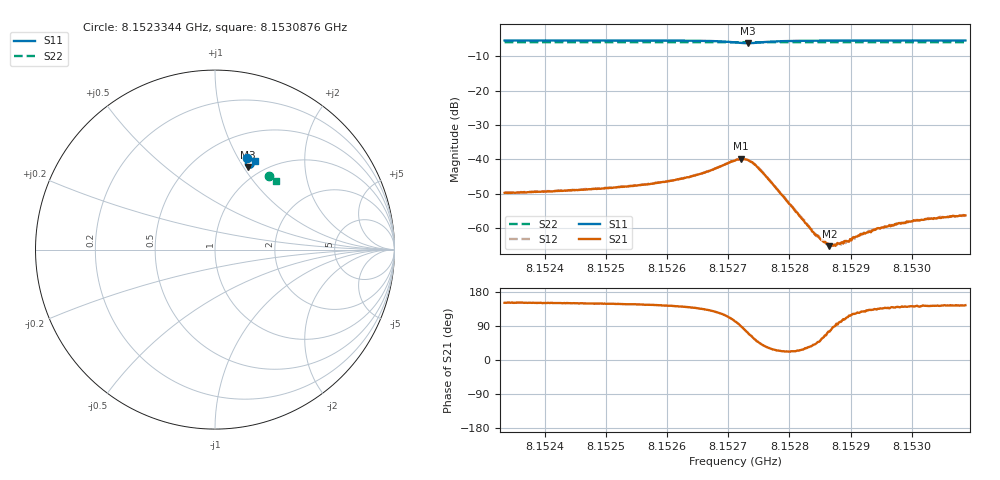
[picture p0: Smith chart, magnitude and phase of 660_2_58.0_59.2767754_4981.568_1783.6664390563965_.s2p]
#  HZ  S  RI  R  50.00
! Rohde & Schwarz Vector Network Analyzer
! Rohde-Schwarz,ZNB20-2Port,1311601062101988,3.16
! Created: UTC 3/21/2024, 1:19:55 AM
! freq[Hz]  re:S11  im:S11  re:S21  im:S21  re:S12  im:S12  re:S22  im:S22
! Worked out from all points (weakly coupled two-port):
!   401 points, 8.1523344 GHz to 8.1530876 GHz, reference 50 ohm
!   highest |S21| = -39.84 dB at 8.1527204 GHz (marker M1); lowest = -65.3 dB at 8.1528654 GHz (marker M2)
!   lowest |S11| = -6.1 dB at 8.1527317 GHz (marker M3), VSWR 2.95, Z = 43.3 + j52.4 ohm
!   |S11| at or under -10 dB: nowhere
!   |S22| runs from -5.9 to -5.8 dB; largest |S21 - S12| = 0.00028
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8.15233442e9  0.1799 0.5097  -0.00283 0.00157  -0.00283 0.00158  0.3036 0.4119
8.15246059e9  0.1899 0.506  -0.00311 0.00183  -0.00309 0.00189  0.3099 0.4069
8.15253779e9  0.1968 0.5029  -0.00339 0.00221  -0.0034 0.00226  0.3137 0.4037
8.15258675e9  0.2021 0.5  -0.00372 0.00264  -0.00374 0.00272  0.3163 0.4017
8.15265454e9  0.2114 0.491  -0.00437 0.00433  -0.00436 0.00435  0.3196 0.3985
8.15271103e9  0.209 0.4622  -0.00196 0.00936  -0.00204 0.00949  0.3218 0.3954
8.15272044e9  0.1998 0.4569  0.000111 0.0102  0.000104 0.0101  0.3219 0.3951
8.15273174e9  0.1853 0.4574  0.003 0.00935  0.00316 0.00929  0.322 0.3948
8.15274116e9  0.1758 0.4651  0.00464 0.00734  0.00482 0.00733  0.3221 0.3949
8.15275246e9  0.1718 0.4769  0.005 0.00476  0.0052 0.00482  0.3226 0.3948
8.15283719e9  0.1944 0.5002  0.000701 0.000543  0.00076 0.000576  0.3277 0.3918
8.15285414e9  0.1974 0.5001  0.000346 0.000556  0.000384 0.000538  0.3287 0.3913
8.15286544e9  0.1992 0.5001  0.000142 0.000523  0.000143 0.000538  0.3291 0.3907
8.15287109e9  0.2 0.5  3.27e-05 0.000551  5.18e-05 0.000544  0.3295 0.3904
8.1528805e9  0.2013 0.4998  -8.7e-05 0.000584  -6.7e-05 0.00055  0.33 0.3901
8.15289745e9  0.2034 0.4995  -0.000292 0.000561  -0.000286 0.00062  0.3308 0.3893
8.15290686e9  0.2046 0.4993  -0.000383 0.000616  -0.000349 0.000601  0.3312 0.3889
8.15292569e9  0.2065 0.4988  -0.000554 0.00064  -0.000546 0.000666  0.3321 0.3881
8.15294264e9  0.2084 0.4984  -0.000667 0.000713  -0.000671 0.000683  0.333 0.3875
8.15296335e9  0.2102 0.4979  -0.000788 0.000755  -0.000804 0.000753  0.3339 0.3864
8.15300666e9  0.2142 0.4965  -0.00101 0.000778  -0.00102 0.00081  0.3362 0.3847
8.15308763e9  0.2206 0.4944  -0.00124 0.000884  -0.00124 0.000909  0.3398 0.3812
